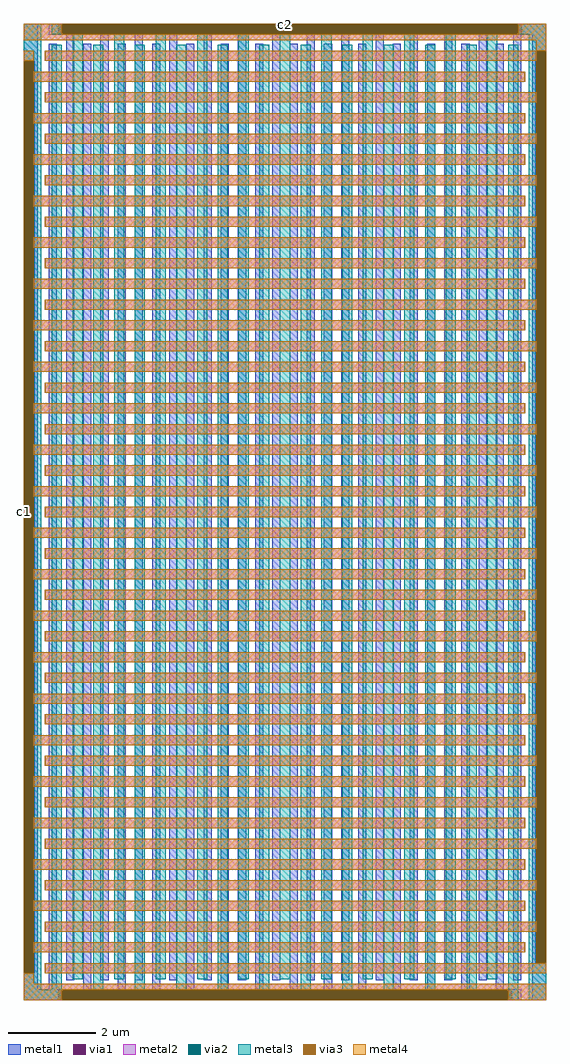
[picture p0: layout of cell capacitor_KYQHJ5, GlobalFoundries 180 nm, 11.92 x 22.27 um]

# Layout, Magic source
magic
tech gf180mcuD
magscale 3 26
<< metal1 >>
rect 0 3714 55 3860
rect 99 3859 2066 3860
rect 99 3819 137 3859
rect 1969 3819 2066 3859
rect 99 3818 2066 3819
rect 0 106 1 3714
rect 41 106 55 3714
rect 0 42 55 106
rect 99 42 131 3782
rect 167 78 199 3818
rect 235 42 267 3782
rect 303 78 335 3818
rect 371 42 403 3782
rect 439 78 471 3818
rect 507 42 539 3782
rect 575 78 607 3818
rect 643 42 675 3782
rect 711 78 743 3818
rect 779 42 811 3782
rect 847 78 879 3818
rect 915 42 947 3782
rect 983 78 1015 3818
rect 1051 42 1083 3782
rect 1119 78 1151 3818
rect 1187 42 1219 3782
rect 1255 78 1287 3818
rect 1323 42 1355 3782
rect 1391 78 1423 3818
rect 1459 42 1491 3782
rect 1527 78 1559 3818
rect 1595 42 1627 3782
rect 1663 78 1695 3818
rect 1731 42 1763 3782
rect 1799 78 1831 3818
rect 1867 42 1899 3782
rect 1935 78 1967 3818
rect 2011 3754 2066 3818
rect 2011 146 2025 3754
rect 2065 146 2066 3754
rect 0 41 1967 42
rect 0 1 137 41
rect 1929 1 1967 41
rect 0 0 1967 1
rect 2011 0 2066 146
<< via1 >>
rect 137 3819 1969 3859
rect 1 106 41 3714
rect 2025 146 2065 3754
rect 137 1 1929 41
<< metal2 >>
rect 0 3859 151 3860
rect 1955 3859 2066 3860
rect 0 3819 137 3859
rect 1969 3819 2066 3859
rect 0 3796 2066 3819
rect 2025 3754 2066 3796
rect 0 3714 41 3754
rect 84 3714 2025 3754
rect 41 3632 1982 3672
rect 84 3550 2025 3590
rect 41 3468 1982 3508
rect 84 3386 2025 3426
rect 41 3304 1982 3344
rect 84 3222 2025 3262
rect 41 3140 1982 3180
rect 84 3058 2025 3098
rect 41 2976 1982 3016
rect 84 2894 2025 2934
rect 41 2812 1982 2852
rect 84 2730 2025 2770
rect 41 2648 1982 2688
rect 84 2566 2025 2606
rect 41 2484 1982 2524
rect 84 2402 2025 2442
rect 41 2320 1982 2360
rect 84 2238 2025 2278
rect 41 2156 1982 2196
rect 84 2074 2025 2114
rect 41 1992 1982 2032
rect 84 1910 2025 1950
rect 41 1828 1982 1868
rect 84 1746 2025 1786
rect 41 1664 1982 1704
rect 84 1582 2025 1622
rect 41 1500 1982 1540
rect 84 1418 2025 1458
rect 41 1336 1982 1376
rect 84 1254 2025 1294
rect 41 1172 1982 1212
rect 84 1090 2025 1130
rect 41 1008 1982 1048
rect 84 926 2025 966
rect 41 844 1982 884
rect 84 762 2025 802
rect 41 680 1982 720
rect 84 598 2025 638
rect 41 516 1982 556
rect 84 434 2025 474
rect 41 352 1982 392
rect 84 270 2025 310
rect 41 188 1982 228
rect 84 106 2066 146
rect 0 64 41 106
rect 0 41 2066 64
rect 0 1 137 41
rect 1929 1 2066 41
rect 0 0 151 1
rect 1915 0 2066 1
<< via2 >>
rect 151 3859 1955 3860
rect 151 3820 1955 3859
rect 0 106 1 3714
rect 1 106 40 3714
rect 2026 146 2065 3754
rect 2065 146 2066 3754
rect 151 1 1915 40
rect 151 0 1915 1
<< metal3 >>
rect 0 3714 69 3860
rect 111 3820 151 3860
rect 1955 3820 2066 3860
rect 40 106 69 3714
rect 0 40 69 106
rect 111 40 151 3778
rect 193 82 233 3820
rect 275 40 315 3778
rect 357 82 397 3820
rect 439 40 479 3778
rect 521 82 561 3820
rect 603 40 643 3778
rect 685 82 725 3820
rect 767 40 807 3778
rect 849 82 889 3820
rect 931 40 971 3778
rect 1013 82 1053 3820
rect 1095 40 1135 3778
rect 1177 82 1217 3820
rect 1259 40 1299 3778
rect 1341 82 1381 3820
rect 1423 40 1463 3778
rect 1505 82 1545 3820
rect 1587 40 1627 3778
rect 1669 82 1709 3820
rect 1751 40 1791 3778
rect 1833 82 1873 3820
rect 0 0 151 40
rect 1915 0 1955 3778
rect 1997 3754 2066 3820
rect 1997 146 2026 3754
rect 1997 0 2066 146
<< via3 >>
rect 151 3820 1955 3860
rect 0 106 40 3714
rect 151 0 1915 40
rect 2026 146 2066 3754
<< metal4 >>
rect 0 3820 151 3860
rect 1955 3820 2066 3860
rect 0 3796 2066 3820
rect 2026 3754 2066 3796
rect 0 3714 40 3754
rect 82 3714 2026 3754
rect 40 3632 1984 3672
rect 82 3550 2026 3590
rect 40 3468 1984 3508
rect 82 3386 2026 3426
rect 40 3304 1984 3344
rect 82 3222 2026 3262
rect 40 3140 1984 3180
rect 82 3058 2026 3098
rect 40 2976 1984 3016
rect 82 2894 2026 2934
rect 40 2812 1984 2852
rect 82 2730 2026 2770
rect 40 2648 1984 2688
rect 82 2566 2026 2606
rect 40 2484 1984 2524
rect 82 2402 2026 2442
rect 40 2320 1984 2360
rect 82 2238 2026 2278
rect 40 2156 1984 2196
rect 82 2074 2026 2114
rect 40 1992 1984 2032
rect 82 1910 2026 1950
rect 40 1828 1984 1868
rect 82 1746 2026 1786
rect 40 1664 1984 1704
rect 82 1582 2026 1622
rect 40 1500 1984 1540
rect 82 1418 2026 1458
rect 40 1336 1984 1376
rect 82 1254 2026 1294
rect 40 1172 1984 1212
rect 82 1090 2026 1130
rect 40 1008 1984 1048
rect 82 926 2026 966
rect 40 844 1984 884
rect 82 762 2026 802
rect 40 680 1984 720
rect 82 598 2026 638
rect 40 516 1984 556
rect 82 434 2026 474
rect 40 352 1984 392
rect 82 270 2026 310
rect 40 188 1984 228
rect 82 106 2066 146
rect 0 64 40 106
rect 0 40 2066 64
rect 0 0 151 40
rect 1915 0 2066 40
<< labels >>
rlabel via3 2 1930 2 1930 0 c1
port 1 nsew
rlabel via3 1033 3858 1033 3858 0 c2
port 2 nsew
<< properties >>
string device csubckt cap_cmomf 0 0 1 1 w=10.33u l=19.3u mmin=1 mmax=4 subblock=0 mm_ok=1 c1 0 0 c2 0 0
string FIXED_BBOX 0 0 2066 3860
string gencell cap_cmomf
string library gf180mcu
string parameters w 10.33 l 19.3 value 9.28 class capacitor mmin 1 mmax 4 square 1 subblock 0 lmin 2.00 wmin 2.00 lmax 100.0 wmax 100.0 val {}
<< end >>
